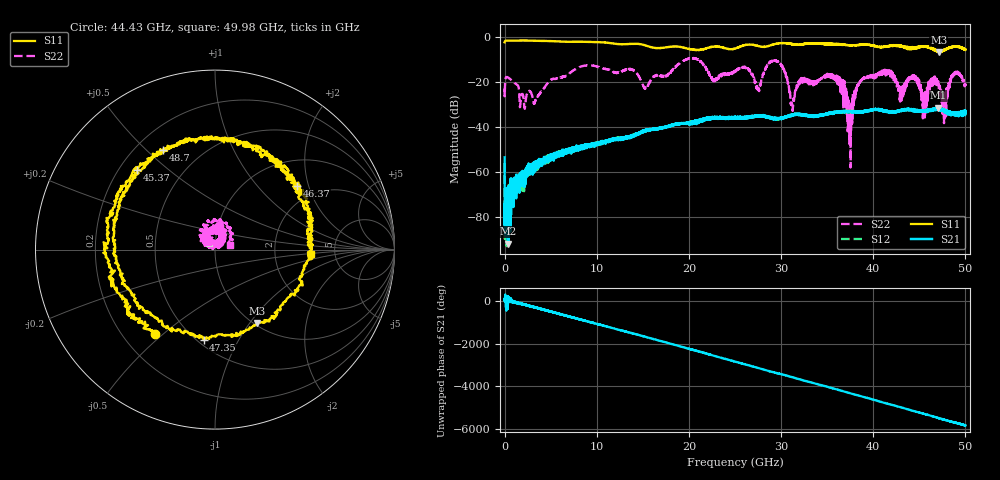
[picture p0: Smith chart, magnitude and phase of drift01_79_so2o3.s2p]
!Created with skrf (http://scikit-rf.org).
# Hz S RI R 50.0
!freq ReS11 ImS11 ReS21 ImS21 ReS12 ImS12 ReS22 ImS22
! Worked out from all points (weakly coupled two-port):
!   10001 points, 300 kHz to 50 GHz, reference 50 ohm
!   highest |S21| = -31.32 dB at 47.03 GHz (marker M1); lowest = -92.0 dB at 350.3 MHz (marker M2)
!   lowest |S11| = -6.6 dB at 47.1 GHz (marker M3), VSWR 2.77, Z = 51.5 - j54 ohm
!   |S11| at or under -10 dB: nowhere
!   |S22| runs from -58.0 to -9.2 dB; largest |S21 - S12| = 0.0046
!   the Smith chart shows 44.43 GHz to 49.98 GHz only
!   S11 on the Smith chart (normalised r, x): 44.43 GHz: 0.33, -0.47; 45.37 GHz: 0.27, +0.39; 46.37 GHz: 1.58, +1.68; 47.35 GHz: 0.54, -0.73; 48.7 GHz: 0.31, +0.56; 49.98 GHz: 3.29, -0.20
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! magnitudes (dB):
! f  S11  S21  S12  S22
! 300 kHz  -2.2  -53.5  -56.1  -22.7
! 350.3 MHz  -1.4  -92.0  -66.9  -17.9
! 3.29 GHz  -1.5  -57.8  -56.5  -28.8
! 8.335 GHz  -1.9  -48.5  -49.6  -12.9
! 16.67 GHz  -4.8  -40.7  -40.7  -16.7
! 25 GHz  -5.0  -35.7  -35.9  -15.4
! 29.57 GHz  -2.7  -36.6  -36.3  -10.7
! 31.23 GHz  -3.0  -34.5  -34.6  -32.2
! 33.34 GHz  -2.6  -35.0  -35.0  -20.3
! 36.13 GHz  -3.1  -33.2  -33.6  -19.6
! 37.47 GHz  -3.5  -33.0  -33.0  -37.5
! 38.66 GHz  -3.3  -33.4  -33.1  -19.2
! 41.67 GHz  -3.8  -33.1  -33.1  -16.1
! 44.43 GHz  -4.8  -32.7  -32.2  -17.3
! 45.37 GHz  -4.1  -32.8  -33.1  -29.8
! 46.37 GHz  -4.8  -32.2  -32.1  -18.7
! 47.03 GHz  -6.1  -31.3  -31.5  -19.8
! 47.1 GHz  -6.6  -31.9  -32.4  -21.8
! 47.35 GHz  -5.9  -32.2  -32.1  -25.0
! 48.7 GHz  -4.1  -34.0  -34.2  -16.9
! 49.98 GHz  -5.4  -32.9  -32.9  -21.0
! 50 GHz  -5.5  -33.0  -33.6  -21.0
